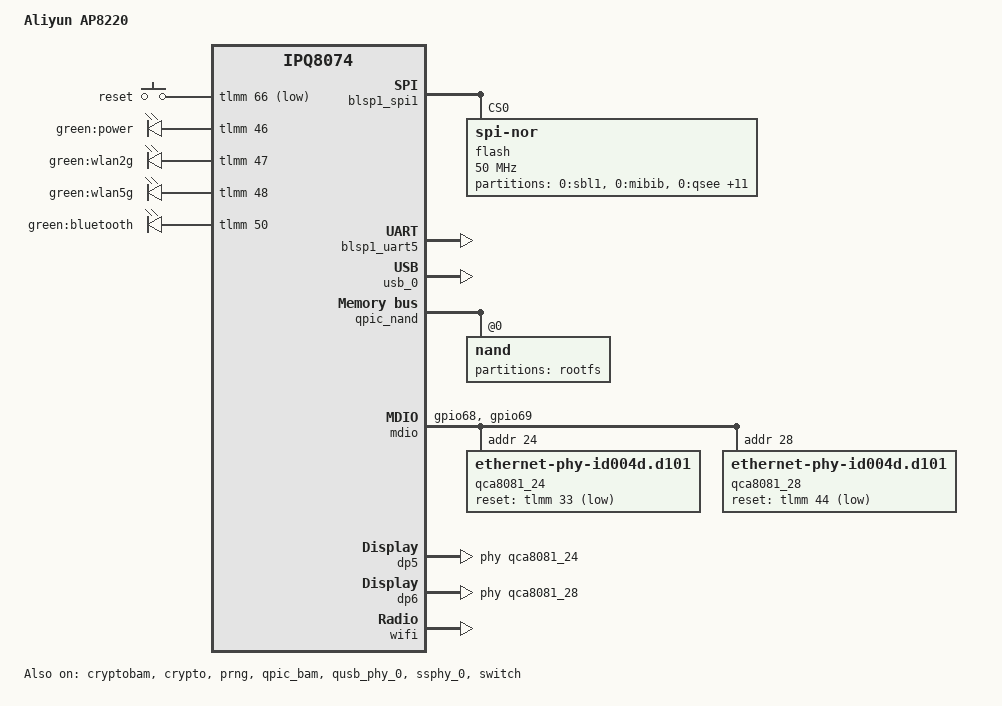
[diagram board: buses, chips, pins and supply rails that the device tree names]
// SPDX-License-Identifier: GPL-2.0-or-later OR MIT

/dts-v1/;

#include "ipq8074.dtsi"
#include "ipq8074-ac-cpu.dtsi"
#include "ipq8074-ess.dtsi"
#include "ipq8074-nss.dtsi"
#include <dt-bindings/gpio/gpio.h>
#include <dt-bindings/input/input.h>

/ {
	model = "Aliyun AP8220";
	compatible = "aliyun,ap8220", "qcom,ipq8074";

	aliases {
		serial0 = &blsp1_uart5;
		led-boot = &led_power;
		led-failsafe = &led_power;
		led-running = &led_power;
		led-upgrade = &led_power;
	};

	chosen {
		stdout-path = "serial0:115200n8";
		bootargs-append = " root=/dev/ubiblock0_1";
	};

	keys {
		compatible = "gpio-keys";
		pinctrl-0 = <&button_pins>;
		pinctrl-names = "default";

		reset {
			label = "reset";
			linux,code = <KEY_RESTART>;
			gpios = <&tlmm 66 GPIO_ACTIVE_LOW>;
		};
	};

	leds {
		compatible = "gpio-leds";

		led_power: power {
			label = "green:power";
			gpios = <&tlmm 46 GPIO_ACTIVE_HIGH>;
		};

		wlan2g {
			label = "green:wlan2g";
			gpios = <&tlmm 47 GPIO_ACTIVE_HIGH>;
			linux,default-trigger = "phy1radio";
		};

		wlan5g {
			label = "green:wlan5g";
			gpios = <&tlmm 48 GPIO_ACTIVE_HIGH>;
			linux,default-trigger = "phy0radio";
		};

		bluetooth {
			label = "green:bluetooth";
			gpios = <&tlmm 50 GPIO_ACTIVE_HIGH>;
		};
	};
};

&tlmm {
	mdio_pins: mdio-pins {
		mdc {
			pins = "gpio68";
			function = "mdc";
			drive-strength = <8>;
			bias-pull-up;
		};

		mdio {
			pins = "gpio69";
			function = "mdio";
			drive-strength = <8>;
			bias-pull-up;
		};
	};

	button_pins: button-pins {
		mux {
			pins = "gpio66";
			function = "gpio";
			drive-strength = <8>;
			bias-pull-up;
		};
	};
};

&blsp1_spi1 {
	status = "okay";

	flash@0 {
		compatible = "jedec,spi-nor";
		#address-cells = <1>;
		#size-cells = <1>;
		reg = <0>;
		spi-max-frequency = <50000000>;

		partitions {
			compatible = "fixed-partitions";
			#address-cells = <1>;
			#size-cells = <1>;

			partition@0 {
				label = "0:sbl1";
				reg = <0x0 0x50000>;
				read-only;
			};

			partition@50000 {
				label = "0:mibib";
				reg = <0x50000 0x10000>;
				read-only;
			};

			partition@60000 {
				label = "0:qsee";
				reg = <0x60000 0x180000>;
				read-only;
			};

			partition@1e0000 {
				label = "0:devcfg";
				reg = <0x1e0000 0x10000>;
				read-only;
			};

			partition@1f0000 {
				label = "0:apdp";
				reg = <0x1f0000 0x10000>;
				read-only;
			};

			partition@200000 {
				label = "0:rpm";
				reg = <0x200000 0x40000>;
				read-only;
			};

			partition@240000 {
				label = "0:cdt";
				reg = <0x240000 0x10000>;
				read-only;
			};

			partition@250000 {
				label = "0:appsblenv";
				reg = <0x250000 0x10000>;
			};

			partition@260000 {
				label = "0:appsbl";
				reg = <0x260000 0xa0000>;
				read-only;
			};

			partition@300000 {
				label = "0:art";
				reg = <0x300000 0x40000>;
				read-only;
			};

			partition@340000 {
				label = "0:ethphyfw";
				reg = <0x340000 0x80000>;
				read-only;
			};

			partition@3c0000 {
				label = "product_info";
				reg = <0x3c0000 0x10000>;
				read-only;
			};

			partition@3d0000 {
				label = "mtdoops";
				reg = <0x3d0000 0x20000>;
			};

			partition@3f0000 {
				label = "priv_data1";
				reg = <0x3f0000 0x10000>;
				read-only;
			};
		};
	};
};

&blsp1_uart5 {
	status = "okay";
};

&cryptobam {
	status = "okay";
};

&crypto {
	status = "okay";
};

&prng {
	status = "okay";
};

&qpic_bam {
	status = "okay";
};

&qusb_phy_0 {
	status = "okay";
};

&ssphy_0 {
	status = "okay";
};

&usb_0 {
	status = "okay";
};

&qpic_nand {
	status = "okay";

	partitions {
		status = "disabled";
	};

	nand@0 {
		reg = <0>;
		nand-ecc-strength = <4>;
		nand-ecc-step-size = <512>;
		nand-bus-width = <8>;

		partitions {
			compatible = "fixed-partitions";
			#address-cells = <1>;
			#size-cells = <1>;

			partition@0 {
				label = "rootfs";
				reg = <0x0000000 0x8000000>;
			};
		};
	};
};

&mdio {
	status = "okay";

	pinctrl-0 = <&mdio_pins>;
	pinctrl-names = "default";

	qca8081_24: ethernet-phy@24 {
		compatible = "ethernet-phy-id004d.d101";
		reg = <24>;
		reset-gpios = <&tlmm 33 GPIO_ACTIVE_LOW>;
	};

	qca8081_28: ethernet-phy@28 {
		compatible = "ethernet-phy-id004d.d101";
		reg = <28>;
		reset-gpios = <&tlmm 44 GPIO_ACTIVE_LOW>;
	};
};

&switch {
	status = "okay";

	switch_cpu_bmp = <0x1>;  /* cpu port bitmap */
	switch_lan_bmp = <0x20>; /* lan port bitmap */
	switch_wan_bmp = <0x40>; /* wan port bitmap */
	switch_mac_mode = <0xff>; /* mac mode for uniphy instance0*/
	switch_mac_mode1 = <0xf>; /* mac mode for uniphy instance1*/
	switch_mac_mode2 = <0xf>; /* mac mode for uniphy instance2*/
	bm_tick_mode = <0>; /* bm tick mode */
	tm_tick_mode = <0>; /* tm tick mode */

	qcom,port_phyinfo {
		port@5 {
			port_id = <5>;
			phy_address = <24>;
			port_mac_sel = "QGMAC_PORT";
		};
		port@6 {
			port_id = <6>;
			phy_address = <28>;
			port_mac_sel = "QGMAC_PORT";
		};
	};
};

&edma {
	status = "okay";
};

&dp5 {
	status = "okay";
	phy-handle = <&qca8081_24>;
	label = "wan";
};

&dp6 {
	status = "okay";
	phy-handle = <&qca8081_28>;
	label = "lan";
};

&wifi {
	status = "okay";

	qcom,ath11k-calibration-variant = "Aliyun-AP8220";
};
